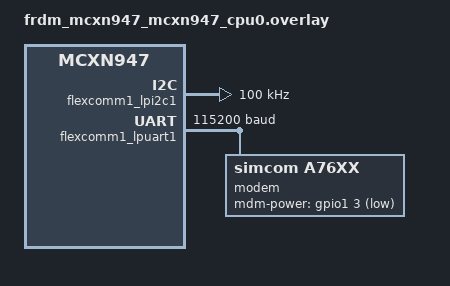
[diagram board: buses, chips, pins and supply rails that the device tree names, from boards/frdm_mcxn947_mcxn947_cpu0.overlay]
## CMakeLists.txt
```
# face-detect: on-device face detection (OV7670 camera + LCD-PAR-S035) with
# detections published to Avnet /IOTCONNECT over cellular (LTE IoT 12 Click,
# generic Zephyr cellular modem driver + PPP).
#
# Vision/inference sources come from the original iotc-mcx-zephyr-demos app
# (EBV Elektronik / NXP); the cloud layer is the iotc-zephyr-sdk with the
# quickstart provisioning flow (src/cloud.c replaces the vendored iotc glue).
#
# Requires the tflite-micro module (in this repo's west.yml) and the
# iotc-zephyr-sdk module. The NPU-accelerated model needs NXP's eIQ Neutron
# TFLM middleware, which upstream Zephyr does not ship -- this port runs the
# software model with CMSIS-NN kernels.
cmake_minimum_required(VERSION 3.20.0)

set(SHIELD lcd_par_s035_8080 dvp_20pin_ov7670)

find_package(Zephyr REQUIRED HINTS $ENV{ZEPHYR_BASE})
project(iotc_demo_face_detect)

if(NOT DEFINED ZEPHYR_TFLITE_MICRO_MODULE_DIR)
  message(FATAL_ERROR
    "tflite-micro module not in the workspace. Enable it with:\n"
    "  west config manifest.project-filter -- +tflite-micro\n"
    "  west update tflite-micro")
endif()

if(CONFIG_MCUX_HAS_NPU)
  message(FATAL_ERROR
    "The NPU model path needs NXP's eIQ Neutron TFLM middleware (prebuilt "
    "libtflm + libNeutron*), which upstream Zephyr does not ship. Build "
    "without CONFIG_MCUX_HAS_NPU to use the software model.")
endif()

include(${CMAKE_CURRENT_SOURCE_DIR}/../../../common/cmake/iotc_sdk_samples.cmake)

zephyr_include_directories(
  src
  src/img
  src/model
  src/model/model_sw
  src/font
)

target_sources(app PRIVATE
  src/main.c
  src/cloud.c
  src/display.c
  src/convert.c
  src/face_det.cpp
  src/img/image_conv.c
  src/img/image_draw.c
  src/img/image_resize_nearest.c
  src/model/model.cpp
  src/model/get_top_n.cpp
  src/model/yolo_post_processing.cpp
  src/model/model_sw/model_mobilenet_ops_micro.cpp
)

# quickstart_credentials.h: PUBLIC CA roots only (no device key). The
# per-device key/cert is provisioned on-chip (iotcprov provision) into NVS.
target_include_directories(app PRIVATE ${IOTC_SDK_SAMPLES_DIR}/quickstart/src)

# NOTE: do NOT define TF_LITE_STATIC_MEMORY here. The original demo needed it
# to match NXP's prebuilt libtflm.a; the upstream tflite-micro module builds
# WITHOUT it, and defining it only for app sources changes TfLiteTensor's
# layout and corrupts every tensor accessor (garbage dims/type).
target_compile_options(app PRIVATE -Wno-psabi)
```

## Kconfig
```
# face-detect app options (carried over from the original
# iotc-mcx-zephyr-demos app; Copyright 2024 NXP, SPDX-License-Identifier:
# Apache-2.0)

config APP_LOG_LEVEL
	int "Log Level for application"
	default 3

config APP_TENSOR_ARENA_SIZE_KB
	int "size of arena in KB"
	default 200

config APP_CONVERT_DISPLAY
	bool "converts video buffer before writing to display"
	depends on DISPLAY

config APP_RESIZE_FOR_MODEL
	bool "Resizes frame before model processes"

config APP_DISPLAY_BANNER
	bool "Displays text banner on bottom of display, with inference results"
	depends on DISPLAY

config MCUX_HAS_NPU
	bool "SOC has NPU (needs NXP eIQ Neutron TFLM middleware -- not upstream)"

config FACEDETECT_DEBOUNCE_MS
	int "Debounce time in ms"
	default 500

config IOTC_MQTT_DEVICE_REPORT_SEC
	int "Minimal interval in seconds between MQTT reports"
	default 5

config IOTC_INF_STACKSIZE
	int "IoTC Thread stack size in bytes"
	default 4096

config IOTC_MQTT_KEEPALIVE_SEC
	int "IoTC MQTT Keepalive interval in seconds"
	default 5

if APP_CONVERT_DISPLAY
	config CONVDISP_BUF_POOL_SZ_MAX
		int "Maximum size in bytes of each buffer in the CONVDISP pool"

	config CONVDISP_BUF_POOL_NUM_MAX
		int "Maximum number of buffers in the CONVDISP pool"

	config APP_USE_PXP
		bool "use PXP for conversion"

	if APP_USE_PXP
		config APP_PXP_FLIP_HORIZONTAL
			bool "uses PXP to flip frame horizontally"
	endif # APP_USE_PXP
endif # APP_CONVERT_DISPLAY

if APP_RESIZE_FOR_MODEL
	config APP_EXTRACT_WIDTH
		int "width of image extracted from camera frame in pixels"

	config APP_EXTRACT_HEIGHT
		int "height of image extracted from camera frame in pixels"
endif # APP_RESIZE_FOR_MODEL

source "Kconfig.zephyr"
```

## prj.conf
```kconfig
# face-detect: camera + LCD + TFLM inference, IOTCONNECT over cellular.
# Vision options carried from the original iotc-mcx-zephyr-demos app; the
# cloud/provisioning block matches the quickstart demo (identity in NVS,
# on-device keygen, public CA roots only).

# --- SDK + cloud (quickstart provisioning flow) ------------------------------
CONFIG_IOTCONNECT=y
CONFIG_IOTCONNECT_DRA=y
CONFIG_IOTCONNECT_CT_AWS=y
CONFIG_IOTCONNECT_DRA_DISCOVERY_HOST="awsdiscovery.iotconnect.io"
CONFIG_IOTCONNECT_IDENTITY_NVS=y
CONFIG_IOTCONNECT_ONDEVICE_KEYGEN=y
CONFIG_IOTCONNECT_SHELL=y
CONFIG_MBEDTLS_USER_CONFIG_FILE="iotc_mbedtls_config.h"
CONFIG_PSA_WANT_ALG_ECDSA=y
CONFIG_PSA_WANT_KEY_TYPE_ECC_KEY_PAIR_GENERATE=y
CONFIG_PSA_WANT_KEY_TYPE_ECC_KEY_PAIR_EXPORT=y
CONFIG_PSA_WANT_ECC_SECP_R1_256=y

# --- Shell for provisioning (base64 cert/key + JSON paste) -------------------
CONFIG_SHELL=y
CONFIG_SHELL_CMD_BUFF_SIZE=2048
# 2 KB ring: paste the provisioning base64/JSON in chunks (or slow paste)
CONFIG_SHELL_BACKEND_SERIAL_RX_RING_BUFFER_SIZE=1024
CONFIG_SHELL_STACK_SIZE=5120
CONFIG_KERNEL_SHELL=y
CONFIG_REBOOT=y

# --- Networking over cellular PPP --------------------------------------------
CONFIG_NETWORKING=y
CONFIG_NET_NATIVE=y
CONFIG_NET_L2_PPP=y
CONFIG_NET_L2_PPP_OPTION_DNS_USE=y
CONFIG_NET_L2_ETHERNET=n
CONFIG_NET_IPV4=y
CONFIG_NET_IPV6=n
CONFIG_NET_TCP=y
CONFIG_NET_UDP=y
CONFIG_NET_SOCKETS=y
CONFIG_NET_SOCKETS_SOCKOPT_TLS=y
CONFIG_NET_SOCKETS_TLS_MAX_CONTEXTS=2
CONFIG_DNS_RESOLVER=y
# Static fallback: cellular carriers do not always supply DNS via IPCP,
# and without servers every lookup fails with -ENETUNREACH.
CONFIG_DNS_SERVER_IP_ADDRESSES=y
CONFIG_DNS_SERVER1="8.8.8.8"
CONFIG_DNS_SERVER2="1.1.1.1"
CONFIG_NET_CONNECTION_MANAGER=y
CONFIG_NET_MGMT=y
CONFIG_NET_MGMT_EVENT=y
CONFIG_POSIX_API=y
CONFIG_NET_CONFIG_AUTO_INIT=n
CONFIG_NET_IF_MAX_IPV4_COUNT=2
CONFIG_NET_CONTEXT_RCVTIMEO=y
CONFIG_NET_PKT_RX_COUNT=9
CONFIG_NET_PKT_TX_COUNT=9
CONFIG_NET_BUF_RX_COUNT=10
CONFIG_NET_BUF_TX_COUNT=12

# --- Cellular modem (LTE IoT 12 Click / SIMCom SIM7672) ----------------------
# Set the APN for YOUR SIM.
CONFIG_MODEM=y
CONFIG_MODEM_CELLULAR=y
CONFIG_MODEM_CELLULAR_APN="globaldata"
# The a76xx profile uses CMUX MTU 127; the DLCI receive rings are sized to
# one frame (134 B) and overrun on URC bursts -- give them slack.
CONFIG_MODEM_CMUX_WORK_BUFFER_SIZE_EXTRA=256
# Health-poll the modem every 30 s instead of every 2 s: with AT and TLS
# multiplexed on one UART, the 2 s poll starves under load, times out three
# times, and the driver needlessly restarts a healthy modem (link flap).
CONFIG_MODEM_CELLULAR_PERIODIC_SCRIPT_MS=30000
CONFIG_MODEM_CELLULAR_UART_BUFFER_SIZES=512
CONFIG_MODEM_CELLULAR_CHAT_BUFFER_SIZE=256
CONFIG_MODEM_CELLULAR_USER_PIPE_BUFFER_SIZES=256
CONFIG_UART_ASYNC_API=y
CONFIG_UART_INTERRUPT_DRIVEN=y
CONFIG_PM_DEVICE=y

# --- TLS ----------------------------------------------------------------------
CONFIG_TLS_CREDENTIALS=y
CONFIG_MBEDTLS=y
CONFIG_MBEDTLS_ENABLE_HEAP=y
CONFIG_MBEDTLS_HEAP_SIZE=44000
CONFIG_MBEDTLS_SSL_MAX_CONTENT_LEN=16384
CONFIG_MBEDTLS_PEM_PARSE_C=y
CONFIG_MBEDTLS_SSL_SERVER_NAME_INDICATION=y
CONFIG_MBEDTLS_CIPHERSUITE_TLS_ECDHE_RSA_WITH_AES_128_GCM_SHA256=y
CONFIG_MBEDTLS_CIPHERSUITE_TLS_ECDHE_ECDSA_WITH_AES_128_GCM_SHA256=y
CONFIG_ENTROPY_GENERATOR=y

# --- MQTT / HTTP / SNTP -------------------------------------------------------
CONFIG_MQTT_LIB=y
CONFIG_MQTT_LIB_TLS=y
CONFIG_MQTT_KEEPALIVE=30
CONFIG_HTTP_CLIENT=y
CONFIG_SNTP=y
CONFIG_POSIX_TIMERS=y

# --- Settings / NVS (provisioned identity) ------------------------------------
CONFIG_SETTINGS=y
CONFIG_SETTINGS_NVS=y
CONFIG_NVS=y
CONFIG_FLASH=y
CONFIG_FLASH_MAP=y

# --- Vision: camera + display --------------------------------------------------
# SmartDMA delivers 320x30 RGB565 slices (8 per QVGA frame): 320*30*2 = 19200 B
# per buffer; two buffers ping-pong (RAM is the scarce resource here).
CONFIG_VIDEO=y
CONFIG_VIDEO_BUFFER_POOL_HEAP_SIZE=39000
CONFIG_VIDEO_BUFFER_POOL_NUM_MAX=2
CONFIG_DISPLAY=y

# --- Inference: TFLM built from source (software model, CMSIS-NN kernels) -----
CONFIG_CPP=y
CONFIG_STD_CPP17=y
CONFIG_REQUIRES_FULL_LIBCPP=y
CONFIG_TENSORFLOW_LITE_MICRO=y
CONFIG_TENSORFLOW_LITE_MICRO_CMSIS_NN_KERNELS=y
CONFIG_FPU=y
CONFIG_FP_HARDABI=y

# --- App options ---------------------------------------------------------------
CONFIG_APP_LOG_LEVEL=3
# The software model needs ~196 KB (TFLM reported 152 KB short by 43956 B).
CONFIG_APP_TENSOR_ARENA_SIZE_KB=196
CONFIG_FACEDETECT_DEBOUNCE_MS=500
CONFIG_IOTC_MQTT_DEVICE_REPORT_SEC=5
# Sizes the app's iotc_thread (see main.c), which runs DRA discovery and
# the TLS handshakes itself: the 4 KB default overflows (hard fault).
CONFIG_IOTC_INF_STACKSIZE=8192
CONFIG_IOTC_MQTT_KEEPALIVE_SEC=5

# --- System --------------------------------------------------------------------
CONFIG_LOG=y
CONFIG_IOTCONNECT_LOG_LEVEL_INF=y
CONFIG_PICOLIBC_IO_FLOAT=y
CONFIG_MAIN_STACK_SIZE=4096
# The whole IOTCONNECT stack (DRA response buffer, cJSON tree, identity
# strings) allocates from this pool; 8 KB OOMs while parsing the discovery
# response. Funded by moving the two big thread stacks into SRAMX.
CONFIG_HEAP_MEM_POOL_SIZE=16384
CONFIG_HW_STACK_PROTECTION=y
# Interrupts stack full FP context once the FPU-heavy inference thread runs;
# the 2 KB default ISR stack overflows (the original demo set 4048 too).
CONFIG_ISR_STACK_SIZE=4096
CONFIG_SIZE_OPTIMIZATIONS=y
```

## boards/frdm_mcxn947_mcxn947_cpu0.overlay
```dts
/*
 * FRDM-MCXN947 face-detect: OV7670 camera (SmartDMA), LCD-PAR-S035 display,
 * and an LTE IoT 12 Click cellular modem on FLEXCOMM1 LPUART (P0_26/P0_27,
 * bent-pin wiring per the demo README) with the modem power key on P1_3.
 *
 * The camera/LCD setup requires NXP's solder-jumper rework, which re-routes
 * the shared ENET pins -- Ethernet is disconnected in hardware on a board
 * prepared for this demo. That is why the transport is cellular.
 */

#include <nxp/mcx/MCXN947VDF-pinctrl.h>

/ {
	aliases {
		modem = &modem;
	};

	chosen {
		/delete-property/ zephyr,canbus;
		zephyr,camera = &video_sdma;
		/* Camera slices are stitched into one model input frame here */
		zephyr,modelbuf = &sramx;
	};
};

&sram0 {
	reg = <0x20000000 DT_SIZE_K(408)>;
};

/* The board rework re-routes the ENET pins to the camera interface */
/delete-node/ &enet;
/delete-node/ &pinmux_enet_qos;

/* Keep the model buffer clear of the SmartDMA camera firmware that occupies
 * the start of SRAMX. The upstream camera firmware is 2541 B (0x9ED) -- an
 * 0x800 offset (as the original demo used with its older firmware) overlaps
 * it, and the frame copies then corrupt the running SmartDMA program (bus
 * fault). 4 KB clears it with headroom.
 */
/delete-node/ &sramx;
&sram {
	sramx: memory@4001000 {
		compatible = "zephyr,memory-region", "mmio-sram";
		reg = <0x4001000 DT_SIZE_K(92)>;
		zephyr,memory-region = "SRAM1";
		zephyr,memory-attr = <(DT_MEM_ARM(ATTR_MPU_RAM))>;
	};
};

/* Portrait orientation (MV=0), as the original demo used: the controller
 * then walks write windows row-major, matching the row-major slice buffers.
 * In the shield's default landscape mode (MV=1) windows are walked
 * column-first and every image write shreds with a 30-pixel period.
 */
&st7796s {
	madctl = <0x88>;
	height = <480>;
	width = <320>;
};

/* The OV7670 answers on I2C only once its XCLK is running, but the CLKOUT
 * pin feeding XCLK is muxed by the SmartDMA video driver's pinctrl -- which
 * initializes AFTER the sensor driver. Defer the sensor and initialize it
 * from main() once the video device is up.
 */
&ov7670 {
	zephyr,deferred-init;
};

&pinctrl {
	/* LP_FLEXCOMM1 runs in combined UART+I2C mode: the LPUART's
	 * TXD/RXD are routed to the FC1_P2/P3 pads (P0_27/P0_26) only
	 * while the LPI2C function occupies FC1_P0/P1 (P0_24/P0_25).
	 * With the UART alone, its data pins stay on P0/P1 and
	 * P0_26/P0_27 never toggle -- so the I2C node below must remain
	 * enabled even though nothing is attached to it.
	 */
	pinmux_flexcomm1_lpi2c: pinmux_flexcomm1_lpi2c {
		group0 {
			pinmux = <FC1_P0_PIO0_24>, <FC1_P1_PIO0_25>;
			slew-rate = "fast";
			drive-strength = "low";
			input-enable;
			bias-pull-up;
			drive-open-drain;
		};
	};
	pinmux_flexcomm1_lpuart: pinmux_flexcomm1_lpuart {
		group0 {
			pinmux = <FC1_P3_PIO0_27>, <FC1_P2_PIO0_26>;
			slew-rate = "fast";
			drive-strength = "low";
			input-enable;
		};
	};
};

&flexcomm1_lpi2c1 {
	status = "okay";
	pinctrl-0 = <&pinmux_flexcomm1_lpi2c>;
	pinctrl-names = "default";
	clock-frequency = <100000>;
};

&flexcomm1_lpspi1 {
	status = "disabled";
};

&flexcomm1_lpuart1 {
	status = "okay";
	current-speed = <115200>;
	pinctrl-0 = <&pinmux_flexcomm1_lpuart>;
	pinctrl-names = "default";

	/* eDMA channels for the async UART backend (LP_FLEXCOMM1 rx/tx
	 * request lines 0x47/0x48, TRM p7367). Without DMA the backend
	 * drops bytes under CMUX load (AT + PPP multiplexed): periodic
	 * chat scripts time out and the driver endlessly restarts the
	 * modem.
	 */
	dmas = <&edma0 8 0x47>, <&edma0 9 0x48>;
	dma-names = "rx", "tx";

	/* LTE IoT 12 Click (SIMCom SIM7672, an A76xx-family part). The
	 * simcom,a76xx profile matches its power-key timing -- these modems
	 * need ~20 s from power-on to AT-ready, where the bg95 profile the
	 * original demo used only waits 5 s and re-pulses the power key on
	 * every retry, perpetually power-cycling the modem.
	 */
	modem: modem {
		compatible = "simcom,a76xx";
		mdm-power-gpios = <&gpio1 3 GPIO_ACTIVE_LOW>;	/* P1_3 */
		status = "okay";
	};
};
```

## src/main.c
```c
/**
 * Copyright 2019-2025 EBV Elektronik. All rights reserved.
 *
 * Redistribution and use in source and binary forms, with or without
 * modification, are permitted provided that the following conditions are met:
 *
 * 1. Redistributions of source code must retain the above copyright notice,
 *    this list of conditions and the following disclaimer.
 *
 * 2. Redistributions in binary form must reproduce the above copyright notice,
 *    this list of conditions and the following disclaimer in the documentation
 *    and/or other materials provided with the distribution.
 *
 * 3. The name of EBV Elektronik may not be used to endorse or promote products
 *    derived from this software without specific prior written permission.
 *
 * THIS SOFTWARE IS PROVIDED BY EBV "AS IS" AND ANY EXPRESS OR IMPLIED
 * WARRANTIES, INCLUDING, BUT NOT LIMITED TO, THE IMPLIED WARRANTIES OF
 * MERCHANTABILITY, FITNESS FOR A PARTICULAR PURPOSE AND NON-INFRINGEMENT ARE
 * EXPRESSLY AND SPECIFICALLY DISCLAIMED. IN NO EVENT SHALL EBV BE LIABLE FOR
 * ANY DIRECT, INDIRECT, INCIDENTAL, SPECIAL, EXEMPLARY, OR CONSEQUENTIAL
 * DAMAGES (INCLUDING, BUT NOT LIMITED TO, PROCUREMENT OF SUBSTITUTE GOODS
 * OR SERVICES; LOSS OF USE, DATA, OR PROFITS; OR BUSINESS INTERRUPTION)
 * HOWEVER CAUSED AND ON ANY THEORY OF LIABILITY, WHETHER IN CONTRACT,
 * STRICT LIABILITY, OR TORT (INCLUDING NEGLIGENCE OR OTHERWISE) ARISING IN
 * ANY WAY OUT OF THE USE OF THIS SOFTWARE, EVEN IF ADVISED OF THE
 * POSSIBILITY OF SUCH DAMAGE.
 */

/** System includes. */
#include <zephyr/logging/log.h>
LOG_MODULE_REGISTER(facedet, LOG_LEVEL_INF);

#include <zephyr/kernel.h>
#include <zephyr/linker/devicetree_regions.h>
#include <zephyr/drivers/gpio.h>
#include <zephyr/device.h>
#include <zephyr/random/random.h>
#include <zephyr/dfu/mcuboot.h>
#include <zephyr/sys/reboot.h>
#include <zephyr/drivers/video.h>
#include <string.h>
#include <strings.h>



#include "iotc_thread.h"
/* Both large thread stacks live in the SRAMX carve (with the model input
 * buffer) to leave main RAM for the heaps; main RAM is otherwise full.
 */
#define FACEDET_SRAMX_SECTION \
	Z_GENERIC_SECTION(LINKER_DT_NODE_REGION_NAME(DT_CHOSEN(zephyr_modelbuf)))
Z_KERNEL_STACK_DEFINE_IN(iotc_thread_stack_area, CONFIG_IOTC_INF_STACKSIZE,
			 FACEDET_SRAMX_SECTION);
static struct k_thread iotc_thread_data;
struct k_fifo iotc_fifo;


#ifdef CONFIG_BOARD_FRDM_MCXN947
#include <fsl_common.h>

/* Match the original demo's camera clock: CLKOUT from PLL0 divided by 27
 * (~5.5 MHz XCLK -> ~22 MHz PCLK after the sensor's x4 PLL). The upstream
 * board init uses main_clk / 25 (6 MHz -> 24 MHz PCLK), which outruns the
 * SmartDMA camera firmware's sampling margin and shows up as vertical
 * strip artifacts.
 */
static int facedet_camera_clkout(void)
{
	SYSCON->CLKOUTSEL = 0x1;	/* PLL0 */
	SYSCON->CLKOUTDIV = 26;		/* divide by 27 */
	return 0;
}
SYS_INIT(facedet_camera_clkout, POST_KERNEL, 50);
#endif /* CONFIG_BOARD_FRDM_MCXN947 */

#define FACEDETECT_DEMO
#ifdef FACEDETECT_DEMO

#include "FacialDetect.h"
struct display_buffer_descriptor strbuf_desc;

#include <zephyr/drivers/display.h>
#include <zephyr/drivers/video.h>
#include "display_app.h"
#include "convert.h"

const struct device *display_dev;

/* Upstream nxp,video-smartdma delivers QVGA frames as 320x30 RGB565 slices
 * (kSMARTDMA_CameraDiv16FrameQVGA: two 15-line firmware stripes per buffer,
 * 8 buffers per frame), reporting each slice's position via
 * video_buffer.line_offset.
 */
#define SLICE_LINES 30

volatile static uint32_t __attribute((aligned(4))) vbuf_idx = 0;

#include "model.h"

Z_KERNEL_STACK_DEFINE_IN(inf_thread_stack_area, THREAD_INF_STACKSIZE,
			 FACEDET_SRAMX_SECTION);
static struct k_thread inf_thread_data;

struct k_fifo inf_fifo;  /* FIFO for buffers to inference */
#endif


/**
 * \brief Application main task function.
 */
int main(void)
{
    /* Application welcome message. */
    printk("EBV IoTConnect NXP " CONFIG_BOARD_TARGET "\n");

    /* Creating and starting iotc thread */
    k_fifo_init(&iotc_fifo);

	k_thread_create(&iotc_thread_data, iotc_thread_stack_area,
		K_THREAD_STACK_SIZEOF(iotc_thread_stack_area),
		iotc_thread, NULL, &iotc_fifo, NULL,
		THREAD_PRIORITY_INF, 1, K_FOREVER);
	k_thread_name_set(&iotc_thread_data, "iotc_thread");

    k_thread_start(&iotc_thread_data);

    struct video_buffer *buffers[CONFIG_VIDEO_BUFFER_POOL_NUM_MAX], *vbuf;
	struct display_buffer_descriptor buf_desc;
	void *convdisp_buf = NULL;
	rect_buf_params_t rect_params;

	display_dev = DEVICE_DT_GET(DT_CHOSEN(zephyr_display));
	if (!device_is_ready(display_dev)) {
		LOG_ERR("Device not ready, aborting test");
		return -1;
	}

	if (convdisp_init(DT_PROP(DT_CHOSEN(zephyr_display), width),
		DT_PROP(DT_CHOSEN(zephyr_display), height))) {
		LOG_ERR("convdisp_init() failed\n");
		return -1;
	}

	const struct device *const video = DEVICE_DT_GET(DT_CHOSEN(zephyr_camera));

	if (!device_is_ready(video)) {
		LOG_ERR("%s: device not ready.\n", video->name);
		return -1;
	}

#if DT_NODE_EXISTS(DT_NODELABEL(ov7670))
	/* The sensor's init is deferred (see the board overlay): its XCLK is
	 * only running once the video device has applied the camera pinmux.
	 * Give the sensor a few tries -- it needs some XCLK cycles after
	 * power-down/reset deassert before its SCCB interface responds.
	 */
	const struct device *const sensor = DEVICE_DT_GET(DT_NODELABEL(ov7670));

	for (int try = 0; !device_is_ready(sensor); try++) {
		if (try >= 5) {
			LOG_ERR("%s: sensor init failed.\n", sensor->name);
			return -1;
		}
		k_msleep(50);
		(void)device_init(sensor);
	}
#endif

	int i = 0;
	unsigned int frame = 0;

	LOG_INF("- Device name: %s\n", video->name);

	/* Get capabilities */
	struct video_caps caps = {.type = VIDEO_BUF_TYPE_OUTPUT};
	if (video_get_caps(video, &caps)) {
		LOG_ERR("Unable to retrieve video capabilities");
		return -1;
	}

	/* Get default/native format */
	struct video_format fmt = {.type = VIDEO_BUF_TYPE_OUTPUT};
	if (video_get_format(video, &fmt)) {
		LOG_ERR("Unable to retrieve video format");
		return -1;
	}

	/* Program the pipeline (including the sensor) with that format --
	 * without this the OV7670 free-runs in its power-on format and the
	 * capture engine slices a mismatched bitstream into static.
	 */
	if (video_set_format(video, &fmt)) {
		LOG_ERR("Unable to set video format");
		return -1;
	}

	/* The SmartDMA capture engine streams fixed-height slices */
	const uint8_t slices_per_frame = fmt.height / SLICE_LINES;

	LOG_INF("- Default format: %c%c%c%c %ux%u\n", (char)fmt.pixelformat,
	       (char)(fmt.pixelformat >> 8),
	       (char)(fmt.pixelformat >> 16),
	       (char)(fmt.pixelformat >> 24),
	       fmt.width, fmt.height);

	/* Size to allocate for each buffer. The SmartDMA camera engine writes
	 * 36 bytes of metadata past the frame data (the original demo sized
	 * buffers "320W x 15H x 2BPP x 2(SmartDMA) + 36") -- without the slack
	 * every buffer overruns into adjacent RAM and corrupts whatever the
	 * linker placed there.
	 */
	size_t bsize;
	bsize = fmt.pitch * SLICE_LINES + 36U;

	/* Alloc video buffers and enqueue for capture */
	for (i = 0; i < ARRAY_SIZE(buffers); i++) {
		buffers[i] = video_buffer_alloc(bsize, K_FOREVER);
		if (buffers[i] == NULL) {
			LOG_ERR("Unable to alloc video buffer");
			return -1;
		}

		buffers[i]->type = VIDEO_BUF_TYPE_OUTPUT;
		video_enqueue(video, buffers[i]);
	}

	/* configure display buffer */
	uint16_t y_step;

	y_step = SLICE_LINES;
	buf_desc.buf_size = bsize;
	buf_desc.width = fmt.width;
	buf_desc.pitch = fmt.width;
	buf_desc.height = y_step;
	#ifdef CONFIG_APP_DISPLAY_BANNER
		buf_desc.height -= BANNER_HEIGHT;
	#endif

	/* use a video buffer to initially draw the display brackground */
	display_background(buffers[0]->buffer);


	/* Start video capture */
	if (video_stream_start(video, VIDEO_BUF_TYPE_OUTPUT)) {
		LOG_ERR("Unable to start capture (interface)");
		return -1;
	}
	LOG_INF("Capture started\n");

	/* Create inference thread */
	inf_thread_config_t inf_config;

	inf_config.frameWidth = fmt.width;
	inf_config.fullFrameHeight = fmt.height;
	inf_config.singleFrameHeight = buf_desc.height;

	k_fifo_init(&inf_fifo);

	k_thread_create(&inf_thread_data, inf_thread_stack_area,
		K_THREAD_STACK_SIZEOF(inf_thread_stack_area),
		inference_thread, &inf_config, &inf_fifo, NULL,
		THREAD_PRIORITY_INF, 0, K_FOREVER);
	k_thread_name_set(&inf_thread_data, "inference_thread");

	uint8_t inf_frame_count = 0;
	bool inference_enabled = false;

	inf_results_t infResults, res_copy;
	inf_results_t *frame_infResults;
	if (slices_per_frame > 1U) {
		/* Inference results are synced at the start of each full video
		 * frame, to keep rectangles consistent in that frame.  Display
		 * will use the local copy of the results. */
		frame_infResults = &infResults;
	} else {
		/* When video provides full frame, display can use the global
		 * inference results, and avoid copying the results every frame */
		frame_infResults = &g_InfResults;
	}

	rect_params.width = buf_desc.width;
	rect_params.height = buf_desc.height;
	rect_params.slices_per_frame = slices_per_frame;

	/* video_dequeue selects the queue from the passed buffer's type */
	vbuf = buffers[0];

    /* Program main loop. */
    while (1) {

        int err;
        uint8_t slice_idx;

        /* Grab video frames */
        err = video_dequeue(video, &vbuf, K_FOREVER);
        if (err) {
            LOG_ERR("Unable to dequeue video buf");
            return -1;
        }
        slice_idx = vbuf->line_offset / y_step;

        LOG_DBG("\rGot frame %u! size: %u; timestamp %u ms",
            frame++, vbuf->bytesused, vbuf->timestamp);

        convdisp(vbuf->buffer, (uint8_t **) &convdisp_buf,
            vbuf->bytesused, K_FOREVER);

        if(slices_per_frame > 1) {
            if(slice_idx == 0) {
                sync_slice_rectangles(frame_infResults);
            }
        #if DT_HAS_CHOSEN(zephyr_modelbuf)
            copy_slice_to_model_input(slice_idx,
                (uint32_t) convdisp_buf, fmt.width, y_step,
                slices_per_frame);
        #endif /* #if DT_HAS_CHOSEN(zephyr_modelbuf) */
        }

        rect_params.buf = (uint16_t *) convdisp_buf;
        rect_params.frame_idx = slice_idx;
        display_rectangles(&rect_params, frame_infResults);

        /* Write the video buffer out to the display */
        display_write(display_dev, 0, y_step * slice_idx, &buf_desc, convdisp_buf);

        if(inference_enabled) {
            /* wake inf_thread if it is waiting for buffer */
            k_fifo_alloc_put(&inf_fifo, convdisp_buf);

            // send a copy of the inference results to iotc thread when at least 1 face was detected
            if (frame_infResults->odRetCnt > 0) {
                memcpy(&res_copy, frame_infResults, sizeof(res_copy));
                k_fifo_alloc_put(&iotc_fifo, &res_copy);
            }
        } else {
            if(inf_frame_count >= slices_per_frame) {
                /* wait for first full frame before starting
                * inference thread */
                k_fifo_alloc_put(&inf_fifo, convdisp_buf);
                k_thread_start(&inf_thread_data);
                inference_enabled = true;
            } else {
                inf_frame_count++;
                /* free buffer for next conversion */
                convdisp_enqueue(convdisp_buf);
            }
        }

        /* vbuf already used, re-use this buffer to write results to
        * display, before giving back to video driver. */
        display_results((uint16_t *)vbuf->buffer);
        err = video_enqueue(video, vbuf);
        if (err) {
            LOG_ERR("Unable to requeue video buf");
            break;
        }

    }
    LOG_INF("Main return\n");
    return 0;
}
```

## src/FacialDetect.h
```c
/*
 * Copyright 2024, NXP
 *
 * SPDX-License-Identifier: Apache-2.0
 */

#if defined(__cplusplus)
extern "C" {
#endif /* __cplusplus */

#include <zephyr/kernel.h>
#include "image_utils.h"

/*******************************************************************************
 * Definitions
 ******************************************************************************/

/* Inference Thread. The software TFLM model (CMSIS-NN kernels) needs far
 * more stack than the NPU path this was originally sized for -- 4 KB
 * overflows inside Invoke() and corrupts adjacent memory.
 */
#define THREAD_INF_STACKSIZE	8192
#define THREAD_PRIORITY_INF	2	/* lowest priority */

/*******************************************************************************
 * Prototypes
 ******************************************************************************/
typedef struct
{
	int frameWidth;
	int fullFrameHeight;
	int singleFrameHeight;
} inf_thread_config_t;

typedef struct
{
	ODResult_t odRets[MAX_OD_BOX_CNT];
	int odRetCnt;
	uint32_t infUs;
	uint64_t retsTimeStamp;
} inf_results_t;

void inference_thread(void *config, void *fifo, void *dummy3);

extern uint32_t static_image_addr;
extern inf_results_t g_InfResults;
extern 	const struct device *display_dev;

#include "image_utils.h"
extern ODResult_t s_odRets[];

void Model_Resize(uint8_t* srcData, int srcWidth, int srcHeight);
const char * GetBriefString(inf_results_t * results);
void sync_slice_rectangles(inf_results_t *infResults);
void copy_slice_to_model_input(uint32_t idx, uint32_t cam_slice_buffer,
	uint32_t cam_slice_width, uint32_t cam_slice_height, uint32_t max_idx);

#if defined(__cplusplus)
}
#endif /* __cplusplus */
```

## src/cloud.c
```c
/*
 * Copyright (c) 2026 Avnet, Inc.
 * SPDX-License-Identifier: MIT
 *
 * IOTCONNECT thread for the face-detect demo.
 *
 * Replaces the original vendored iotc.c / iotc-c-lib glue with the
 * iotc-zephyr-sdk. Connectivity is the LTE IoT 12 Click (generic Zephyr
 * cellular modem driver + PPP); identity uses the quickstart provisioning
 * flow (on-device key + NVS identity, public CA roots compiled in).
 *
 * Consumes inference results from the FIFO fed by main() and publishes the
 * detection count per the mcxn947-facedet device template (faces,
 * local_timestamp), rate-limited by CONFIG_IOTC_MQTT_DEVICE_REPORT_SEC.
 */

#include <time.h>
#include <stdbool.h>

#include <zephyr/kernel.h>
#include <zephyr/logging/log.h>
#include <zephyr/device.h>
#include <zephyr/devicetree.h>
#include <zephyr/pm/device.h>
#include <zephyr/net/net_if.h>
#include <zephyr/net/net_mgmt.h>
#include <zephyr/net/net_event.h>
#include <zephyr/net/conn_mgr_monitor.h>

#include "iotconnect.h"
#include "iotcl.h"
#include "iotcl_telemetry.h"
#include "iotconnect_identity.h"
#include "iotc_time.h"
#include "quickstart_credentials.h"

#include "FacialDetect.h"
#include "iotc_thread.h"

LOG_MODULE_DECLARE(facedet, LOG_LEVEL_INF);

static K_SEM_DEFINE(l4_connected_sem, 0, 1);
static struct net_mgmt_event_callback l4_cb;
#define L4_EVENT_MASK (NET_EVENT_L4_CONNECTED | NET_EVENT_L4_DISCONNECTED)

static void l4_event_handler(struct net_mgmt_event_callback *cb,
			     uint64_t mgmt_event, struct net_if *iface)
{
	ARG_UNUSED(cb);
	ARG_UNUSED(iface);
	if (mgmt_event == NET_EVENT_L4_CONNECTED) {
		LOG_INF("Network connectivity established (L4 up)");
		k_sem_give(&l4_connected_sem);
	} else if (mgmt_event == NET_EVENT_L4_DISCONNECTED) {
		LOG_WRN("Network connectivity lost (L4 down)");
	}
}

static int network_up(void)
{
	struct net_if *iface = net_if_get_default();

	if (iface == NULL) {
		return -ENODEV;
	}

#if DT_NODE_EXISTS(DT_ALIAS(modem))
	/* Power the cellular modem before bringing the PPP interface up. */
	const struct device *modem = DEVICE_DT_GET(DT_ALIAS(modem));

	if (pm_device_action_run(modem, PM_DEVICE_ACTION_RESUME) < 0) {
		LOG_WRN("modem resume failed (it may already be powered)");
	}
#endif

	net_mgmt_init_event_callback(&l4_cb, l4_event_handler, L4_EVENT_MASK);
	net_mgmt_add_event_callback(&l4_cb);

	if (!net_if_is_up(iface)) {
		int ret = net_if_up(iface);

		if (ret && ret != -EALREADY) {
			LOG_ERR("net_if_up failed (%d)", ret);
			return ret;
		}
	}

	conn_mgr_mon_resend_status();
	LOG_INF("Waiting for cellular connectivity (registration + PPP)...");
	k_sem_take(&l4_connected_sem, K_FOREVER);
	return 0;
}

static void print_guide(const char *reason)
{
	printk("\n========================================================\n");
	printk("  face-detect: device is not provisioned (%s)\n", reason);
	printk("  1) iotcprov provision <your-duid>\n");
	printk("  2) IOTCONNECT: Create Device (Self-Signed, template\n");
	printk("     mcxn947-facedet) and paste the printed certificate\n");
	printk("  3) iotc config      (paste iotcDeviceConfig.json)\n");
	printk("  4) kernel reboot cold\n");
	printk("========================================================\n\n");
}

static void publish_faces(int faces)
{
	IotclMessageHandle msg = iotcl_telemetry_create();
	struct tm tm_utc;
	char ts[32];
	time_t now = time(NULL);

	if (msg == NULL) {
		return;
	}

	gmtime_r(&now, &tm_utc);
	strftime(ts, sizeof(ts), "%Y-%m-%dT%H:%M:%SZ", &tm_utc);

	iotcl_telemetry_set_number(msg, "faces", (double)faces);
	iotcl_telemetry_set_string(msg, "local_timestamp", ts);
	(void)iotcl_mqtt_send_telemetry(msg, false);
	iotcl_telemetry_destroy(msg);
	LOG_INF("reported faces=%d", faces);
}

void iotc_thread(void *config, void *fifo, void *dummy3)
{
	struct k_fifo *inf_results_fifo = fifo;
	struct iotc_identity id;
	int ret;

	ARG_UNUSED(config);
	ARG_UNUSED(dummy3);

	while (iotc_identity_load(&id) != 0) {
		print_guide("no identity stored in NVS");
		k_sleep(K_SECONDS(30));
	}
	LOG_INF("Provisioned as duid=%s -- bringing up cellular", id.duid);

	if (network_up() != 0) {
		LOG_ERR("network did not come up");
		return;
	}

	IotConnectClientConfig cfg;

	iotconnect_sdk_init_config(&cfg);
	cfg.connection_type = IOTC_CT_AWS;
	cfg.cpid = (char *)id.cpid;
	cfg.env = (char *)id.env;
	cfg.duid = (char *)id.duid;
	cfg.auth_info.type = IOTC_AT_X509;
	cfg.auth_info.ca_cert = broker_ca_pem;		/* public roots, compiled in */
	cfg.auth_info.ca_cert_len = sizeof(broker_ca_pem);
	cfg.auth_info.dra_ca = dra_ca_pem;
	cfg.auth_info.dra_ca_len = sizeof(dra_ca_pem);
	cfg.auth_info.data.cert_info.device_cert = id.device_cert;	/* from NVS */
	cfg.auth_info.data.cert_info.device_cert_len = id.device_cert_len;
	cfg.auth_info.data.cert_info.device_key = id.device_key;	/* from NVS */
	cfg.auth_info.data.cert_info.device_key_len = id.device_key_len;
	cfg.verbose = true;

	/* Retry forever: right after PPP comes up, DNS and routing can lag,
	 * and cellular links drop. Never exit the thread on failure.
	 */
	while (true) {
		ret = iotc_time_sync(CONFIG_IOTCONNECT_SNTP_SERVER,
				     CONFIG_IOTCONNECT_SNTP_TIMEOUT_MS);
		if (ret) {
			LOG_WRN("SNTP sync failed (%d); continuing", ret);
		}

		ret = iotconnect_sdk_init(&cfg);
		if (ret == 0) {
			break;
		}
		LOG_ERR("iotconnect_sdk_init failed (%d); retrying in 30 s",
			ret);
		k_sleep(K_SECONDS(30));
	}

	while (true) {
		if (iotconnect_sdk_connect() != 0) {
			k_sleep(K_SECONDS(5));
			continue;
		}

		int64_t last_report = 0;
		int pending_faces = 0;
		bool have_pending = false;

		while (iotconnect_sdk_is_connected()) {
			inf_results_t *res =
				k_fifo_get(inf_results_fifo, K_SECONDS(1));

			if (res != NULL) {
				/* keep the latest count within the window */
				pending_faces = res->odRetCnt;
				have_pending = true;
			}

			int64_t now = k_uptime_get();
			int64_t period_ms =
				1000 * CONFIG_IOTC_MQTT_DEVICE_REPORT_SEC;

			if (have_pending && (now - last_report) >= period_ms) {
				publish_faces(pending_faces);
				last_report = now;
				have_pending = false;
				pending_faces = 0;
			} else if (!have_pending &&
				   (now - last_report) >= 3 * period_ms) {
				/* heartbeat: report zero when nothing seen */
				publish_faces(0);
				last_report = now;
			}
		}
		iotconnect_sdk_disconnect();
		LOG_WRN("Cloud connection lost; reconnecting...");
	}
}
```

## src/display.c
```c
/*
 * Copyright (c) 2019 Jan Van Winkel <jan.van_winkel@dxplore.eu>
 * Copyright 2024, NXP
 *
 * Based on ST7789V sample:
 * Copyright (c) 2019 Marc Reilly
 *
 * SPDX-License-Identifier: Apache-2.0
 */

#include <zephyr/logging/log.h>
LOG_MODULE_DECLARE(facedet, LOG_LEVEL_INF);

#include <zephyr/kernel.h>
#include <zephyr/device.h>
#include <zephyr/drivers/display.h>
#include "FacialDetect.h"
#include "display_app.h"

#include "ASCII_consolas_3618.h"
uint16_t POINT_COLOR = 0x0 << 11;
uint16_t BACK_COLOR  = 0xFFFFU;
#define  BACK_COLOR8   0xFFU
#define  RECT_COLOR32  0xFFFFFFFFU;

__attribute__ ((aligned (32))) uint16_t g_char_buf[CHAR_SIZE][CHAR_SIZE/2] = {0};
enum corner {
	TOP_LEFT,
	TOP_RIGHT,
	BOTTOM_RIGHT,
	BOTTOM_LEFT
};

typedef struct{
	uint16_t x_start;
	uint16_t y_start;
	uint16_t x_end;
	uint16_t y_end;
} area_lcd_t;

typedef void (*fill_buffer)(enum corner corner, uint8_t grey, uint8_t *buf,
			    size_t buf_size);

static struct display_buffer_descriptor buf_desc;
const uint8_t *buffer_slice;
static uint64_t s_prevTimeStamp = 0;
static int s_RetCntPrev = 0xFFFFFFFF;
static uint32_t s_prevInfUs = 0;

#ifdef CONFIG_APP_DISPLAY_BANNER
	static uint16_t banner_buf[BANNER_SIZE];
#endif

/* Declare const strings to draw on display */
#ifdef CONFIG_BOARD_FRDM_MCXN947
	const uint8_t mcxn9[] = "  MCXN94x  ";
	const struct disp_string_t str_mcxn9 = {
		.str = (uint8_t *) mcxn9,
		.width = 0,
		.height = CHAR_SIZE,
		.x = 80U,
		.y = 250U,
	};

	const uint8_t aidemo[] = "Face Detect";
	const struct disp_string_t str_aidemo = {
		.str = (uint8_t *) aidemo,
		.width = 0,
		.height = CHAR_SIZE,
		.x = 80U,
		.y = 280U,
	};

	const uint8_t npu[] = "NPU:";
	const struct disp_string_t str_npu = {
		.str = (uint8_t *) npu,
		.width = 0,
		.height = CHAR_SIZE,
		.x = 32U,
		.y = 360U,
	};

	struct disp_string_t str_results = {
		.width = 11U,
		.height = CHAR_SIZE,
		.x = 96U,
		.y = 360U,
	};
#elif ((defined CONFIG_BOARD_MIMXRT1060_EVKB) || (defined CONFIG_BOARD_MIMXRT1060_EVK))
	const uint8_t rt1060[] = "RT1060 FaceDct CM7:";
	const struct disp_string_t str_rt1060 = {
		.str = (uint8_t *) rt1060,
		.width = 0,
		.height = CHAR_SIZE,
		.x = 0U,
		.y = 272U - CHAR_SIZE,
	};

	struct disp_string_t str_results = {
		.width = 11U,
		.height = CHAR_SIZE,
		.x = 304U,
		.y = 272U - CHAR_SIZE,
	};
#else
	#error display strings not support for this board
#endif /* CONFIG_BOARD_FRDM_MCXN947 */

int display_background(const void *disp_buf)
{
#ifdef CONFIG_APP_DISPLAY_BANNER
	/* Fill the buffer with background pixels */
	(void)memset(banner_buf, BACK_COLOR8, sizeof(banner_buf));

	/* Display the banner string */
	draw_string((struct disp_string_t *) &str_rt1060, banner_buf, 
			&strbuf_desc);
	display_write(display_dev, BANNER_X, BANNER_Y, &strbuf_desc, banner_buf);

#else /* CONFIG_APP_DISPLAY_BANNER=n */
	/* Before starting video driver, use video buffers to write strings to
	 * display. */
	display_blanking_off(display_dev);

	size_t buf_size;
	struct display_capabilities capabilities;

	display_get_capabilities(display_dev, &capabilities);

	buf_size = capabilities.x_resolution;

	switch (capabilities.current_pixel_format) {
	case PIXEL_FORMAT_ARGB_8888:
		buf_size *= 4;
		break;
	case PIXEL_FORMAT_RGB_888:
		buf_size *= 3;
		break;
	case PIXEL_FORMAT_RGB_565:
		buf_size *= 2;
		break;
	case PIXEL_FORMAT_RGB_565X: /* byte-swapped RGB565 (was BGR_565) */
		buf_size *= 2;
		break;
	case PIXEL_FORMAT_MONO01:
	case PIXEL_FORMAT_MONO10:
		buf_size /= 8;
		break;
	default:
		LOG_ERR("Unsupported pixel format. Aborting sample.");
		return 0;
	}

	/* Fill the buffer with background pixels */
	(void)memset((void *) disp_buf, BACK_COLOR8, buf_size);

	buf_desc.buf_size = buf_size;
	buf_desc.pitch = capabilities.x_resolution;
	buf_desc.width = capabilities.x_resolution;
	buf_desc.height = 1;

	/* Write the buffer to the entire display */
	for (int idx = 0; idx < capabilities.y_resolution; idx++) {
		display_write(display_dev, 0, idx, &buf_desc, disp_buf);
	}
	display_blanking_off(display_dev);

	draw_string((struct disp_string_t *) &str_mcxn9,
			(uint16_t *) disp_buf, &strbuf_desc);
	display_write(display_dev, str_mcxn9.x, str_mcxn9.y, &strbuf_desc,
			disp_buf);

	draw_string((struct disp_string_t *) &str_aidemo,
			(uint16_t *) disp_buf, &strbuf_desc);
	display_write(display_dev, str_aidemo.x, str_aidemo.y, &strbuf_desc,
			disp_buf);

	draw_string((struct disp_string_t *) &str_npu,
			(uint16_t *) disp_buf, &strbuf_desc);
	display_write(display_dev, str_npu.x, str_npu.y, &strbuf_desc,
			disp_buf);

	display_blanking_off(display_dev);
#endif /* CONFIG_APP_DISPLAY_BANNER */

	return 1;
}

void display_font_conversion(uint16_t *buf, uint16_t width, uint8_t num,
				uint8_t size, uint8_t mode) {
	uint16_t *pDst;
	uint8_t temp,t1,t,buf_x, buf_y;
	uint8_t csize=(size/8+((size%8)?1:0));

	num -= 32;
	buf_x = 0;
	buf_y = 0;

	for (uint32_t i=0;i<size/2;i++) {
		for (t = 0; t < csize; t++) {
			temp = asc2_2412[num][csize*i + t];
			for (t1 = 0; t1 < 8; t1++) {
				pDst = buf + buf_y * width + buf_x;
				if (temp & 0x80U) {
					*pDst = POINT_COLOR;
				} else if (mode == 0) {
					*pDst = BACK_COLOR;
				}

				temp <<= 1;
				buf_y++;
			}
		}

		buf_y = 0;
		buf_x++;
	}
}

void draw_string(struct disp_string_t * dstr, uint16_t *str_buf,
	struct display_buffer_descriptor * desc)
{
	uint16_t x = 0, y = 0;
	uint16_t *pDst;
	uint8_t *p = dstr->str;
	uint16_t width;
	uint8_t size = CHAR_SIZE;

	if(dstr->width) {
		width = dstr->width * CHAR_SIZE/2;
	} else {
		/* use size of string to calculate width */
		width = strlen(dstr->str) * CHAR_SIZE/2;
	}

	while((*p<='~')&&(*p>=' '))
	{
		if (x >= width) {
			x = 0;
			y += size;
		}
		if (y > dstr->height)
			break;

		pDst = str_buf + y * width + x;
		display_font_conversion(pDst, width, *p, size, 0);

		x += size/2;
		p++;
	}

	/* Config buffer descriptor */
	desc->width = width;
	desc->pitch = width;
	desc->height = dstr->height;
	desc->buf_size = desc->pitch * desc->height;
}

void draw_line(uint16_t x_start, uint16_t y_start, uint8_t size,  uint8_t dir) {
   
	uint8_t *data[size * 5 * 2];
	uint32_t data_len = 0;
	
	(void)memset(data, BACK_COLOR8, size * 5 * 2);

	if (dir == 0) {
		data_len = size * 5 * 2;
		buf_desc.buf_size = data_len;
		buf_desc.pitch = size;
		buf_desc.width = size;
		buf_desc.height = 5;

		display_write(display_dev, x_start, y_start, &buf_desc, data);
	} else if (dir == 1) {
		data_len = size * 5 * 2;
		buf_desc.buf_size = data_len;
		buf_desc.pitch = 5;
		buf_desc.width = 5;
		buf_desc.height = size;

		display_write(display_dev, x_start, y_start, &buf_desc, data);
	}

	display_blanking_off(display_dev);
}

void draw_rectangle(uint8_t x_start, uint8_t y_start, uint8_t height, uint8_t width ){

	draw_line(x_start , y_start, width,  0);
	draw_line(x_start , y_start, height ,  1);
	
	draw_line(x_start, y_start + height , width,  0);
	draw_line(x_start + width , y_start, height,  1);
}

void display_results(uint16_t *buf) {
	if(g_InfResults.retsTimeStamp != s_prevTimeStamp) {
		s_prevTimeStamp = g_InfResults.retsTimeStamp;

		/* Print inference results on display if updated*/
		if ((g_InfResults.odRetCnt != s_RetCntPrev) ||
				(g_InfResults.infUs != s_prevInfUs)) {
			str_results.str = (uint8_t *) GetBriefString(&g_InfResults);
			if (str_results.str) {
			#ifdef CONFIG_APP_DISPLAY_BANNER

				draw_string((struct disp_string_t *) &str_results,
					banner_buf, &strbuf_desc);
				display_write(display_dev, str_results.x,
					str_results.y, &strbuf_desc, banner_buf);
			#else /* CONFIG_APP_DISPLAY_BANNER=n */
				draw_string((struct disp_string_t *) &str_results,
					(uint16_t *) buf, &strbuf_desc);
				display_write(display_dev, str_results.x,
					str_results.y, &strbuf_desc, buf);

				display_blanking_off(display_dev);
			#endif /* CONFIG_APP_DISPLAY_BANNER */
			}
		}
	}
}

void draw_rect_on_slice_buffer(uint16_t* pCam, int srcW, int curY, 
	ODResult_t *pODRet, int retCnt, int slice_height) {

	int i = 0;
	int bri;

	for (i = 0; i < retCnt; i++, pODRet++) {
		bri = (int)((pODRet->score - 0.62f) * 100.0f);
		if (bri < 0)
			bri = 0;
		if (bri > 31)
			bri = 31;

		uint32_t color16 = bri | (bri*2<<5) | bri<<11;
		uint32_t color = color16 | color16<<16;
		color = RECT_COLOR32;
		uint16_t *pHorLine = 0;
		int stripeY1 = pODRet->y1 - curY;

		if (stripeY1 >= 0 && stripeY1 < slice_height) {
			for (int j = 0; j<4 && stripeY1 + j < slice_height; j++) {
				pHorLine = pCam + srcW * (j + stripeY1) + pODRet->x1;
				memset(pHorLine, color, (pODRet->x2 - pODRet->x1) * 2);
			}
		}

		int stripeY2 = pODRet->y2 - curY;
		if (stripeY2 >=0 && stripeY2 < slice_height) {
			for (int j = 0; j<4 && stripeY2 + j < slice_height; j++) {
				pHorLine = pCam + srcW * (j + stripeY2) + pODRet->x1;
				memset(pHorLine, color, (pODRet->x2 - pODRet->x1) * 2);
			}
		}

		uint16_t *pVtcLineL = pCam + pODRet->x1;
		uint16_t *pVtcLineR = pCam + pODRet->x2;

		for (int y=curY; y < curY + slice_height; y++) {
			if (y > pODRet->y1 && y < pODRet->y2) {
				memset(pVtcLineL, color, 8);
				memset(pVtcLineR, color, 8);
			}
			pVtcLineL += srcW;
			pVtcLineR += srcW;
		}
	}
}

void display_rectangles(rect_buf_params_t *rect, inf_results_t *infResults) {
	if (rect->slices_per_frame > 1U) {
		/* drawing on a slice, not the full frame */
		draw_rect_on_slice_buffer(rect->buf, rect->width,
			rect->frame_idx * rect->height, (ODResult_t *) infResults->odRets,
			infResults->odRetCnt, rect->height);
	} else {
		/* draw on the full frame */
		for (int i = 0; i < infResults->odRetCnt; i++) {
			ODResult_t* r = &infResults->odRets[i];
			IMAGE_DrawRect(rect->buf, r->x1, r->y1, (r->x2 - r->x1),
				(r->y2 - r->y1), 255, 255, 255, rect->width);
		}
	}
}
```

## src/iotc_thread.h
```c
#ifndef _IOTC_THREAD_H
#define _IOTC_THREAD_H

#include <zephyr/kernel.h>

void iotc_thread(void *config, void *fifo, void *dummy3);

#endif
```
